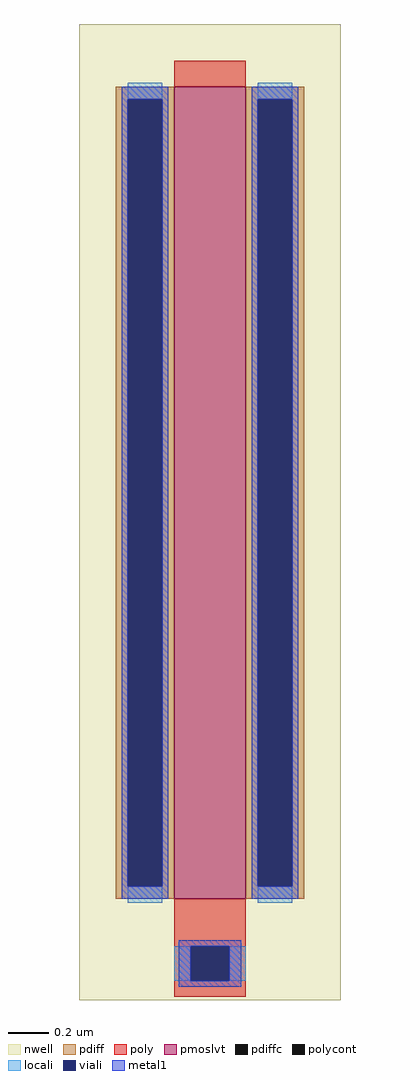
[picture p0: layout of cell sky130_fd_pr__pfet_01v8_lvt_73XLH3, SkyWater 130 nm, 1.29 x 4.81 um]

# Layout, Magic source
magic
tech sky130A
magscale 1 2
<< nwell >>
rect -129 -464 129 498
<< pmoslvt >>
rect -35 -364 35 436
<< pdiff >>
rect -93 424 -35 436
rect -93 -352 -81 424
rect -47 -352 -35 424
rect -93 -364 -35 -352
rect 35 424 93 436
rect 35 -352 47 424
rect 81 -352 93 424
rect 35 -364 93 -352
<< pdiffc >>
rect -81 -352 -47 424
rect 47 -352 81 424
<< poly >>
rect -35 436 35 462
rect -35 -411 35 -364
rect -35 -445 -19 -411
rect 19 -445 35 -411
rect -35 -461 35 -445
<< polycont >>
rect -19 -445 19 -411
<< locali >>
rect -81 424 -47 440
rect -81 -368 -47 -352
rect 47 424 81 440
rect 47 -368 81 -352
rect -35 -445 -19 -411
rect 19 -445 35 -411
<< viali >>
rect -81 -352 -47 424
rect 47 -352 81 424
rect -19 -445 19 -411
<< metal1 >>
rect -87 424 -41 436
rect -87 -352 -81 424
rect -47 -352 -41 424
rect -87 -364 -41 -352
rect 41 424 87 436
rect 41 -352 47 424
rect 81 -352 87 424
rect 41 -364 87 -352
rect -31 -411 31 -405
rect -31 -445 -19 -411
rect 19 -445 31 -411
rect -31 -451 31 -445
<< properties >>
string gencell sky130_fd_pr__pfet_01v8_lvt
string library sky130
string parameters w 4.0 l 0.35 m 1 nf 1 diffcov 100 polycov 100 guard 0 glc 1 grc 1 gtc 1 gbc 1 tbcov 100 rlcov 100 topc 0 botc 1 poverlap 0 doverlap 1 lmin 0.35 wmin 0.42 compatible {sky130_fd_pr__pfet_01v8  sky130_fd_pr__pfet_01v8_lvt sky130_fd_pr__pfet_01v8_hvt  sky130_fd_pr__pfet_g5v0d10v5} full_metal 0 viasrc 100 viadrn 100 viagate 100 viagb 0 viagr 0 viagl 0 viagt 0
<< end >>
